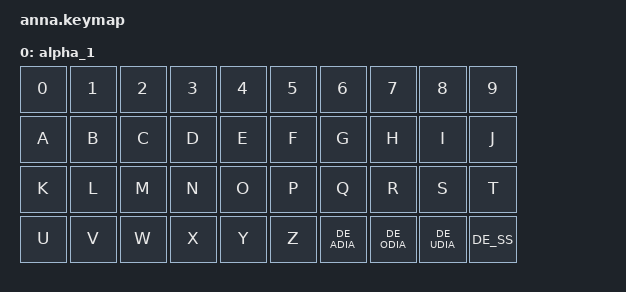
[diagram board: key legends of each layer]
/*
 * Copyright (c) 2021 The ZMK Contributors
 *
 * SPDX-License-Identifier: MIT
 */

#include <behaviors.dtsi>
#include <dt-bindings/zmk/keys.h>
#include <dt-bindings/zmk/bt.h>
#include <dt-bindings/zmk/ext_power.h>

/ {
  keymap {
    compatible = "zmk,keymap";

    // This is a sample keymap intended to be replaced with your own
    alpha_1 {
      bindings = <
        &kp N0 &kp N1 &kp N2 &kp N3 &kp N4 &kp N5 &kp N6      &kp N7      &kp N8      &kp N9
        &kp A  &kp B  &kp C  &kp D  &kp E  &kp F  &kp G       &kp H       &kp I       &kp J
        &kp K  &kp L  &kp M  &kp N  &kp O  &kp P  &kp Q       &kp R       &kp S       &kp T 
        &kp U  &kp V  &kp W  &kp X  &kp Y  &kp Z  &kp DE_ADIA &kp DE_ODIA &kp DE_UDIA &kp DE_SS
      >;
    };


  };
};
